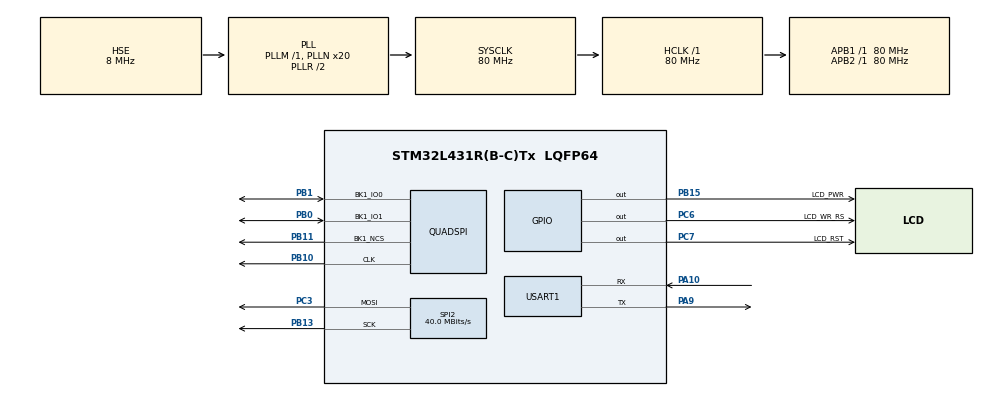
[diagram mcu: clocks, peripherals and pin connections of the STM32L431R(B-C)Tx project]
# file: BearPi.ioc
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Dma.Request0=SPI2_TX
Dma.SPI2_TX.0.Direction=DMA_MEMORY_TO_PERIPH
Dma.SPI2_TX.0.Instance=DMA1_Channel5
Dma.SPI2_TX.0.MemDataAlignment=DMA_MDATAALIGN_BYTE
Dma.SPI2_TX.0.MemInc=DMA_MINC_ENABLE
Dma.SPI2_TX.0.Mode=DMA_NORMAL
Dma.SPI2_TX.0.PeriphDataAlignment=DMA_PDATAALIGN_BYTE
Dma.SPI2_TX.0.PeriphInc=DMA_PINC_DISABLE
Dma.SPI2_TX.0.Priority=DMA_PRIORITY_LOW
FATFS._CODE_PAGE=936
FATFS._MAX_SS=4096
FATFS._USE_LFN=2
Mcu.Family=STM32L4
Mcu.Name=STM32L431R(B-C)Tx
Mcu.Package=LQFP64
NVIC.DMA1_Channel5_IRQn=true\:0\:0\:false\:false\:true\:false\:true
NVIC.PriorityGroup=NVIC_PRIORITYGROUP_4
NVIC.TIM7_IRQn=true\:0\:0\:false\:false\:true\:true\:true
NVIC.USART1_IRQn=true\:0\:0\:false\:false\:true\:true\:true
PA10.Mode=Asynchronous
PA10.Signal=USART1_RX
PA13\ (JTMS-SWDIO).Mode=Serial_Wire
PA13\ (JTMS-SWDIO).Signal=SYS_JTMS-SWDIO
PA14\ (JTCK-SWCLK).Mode=Serial_Wire
PA14\ (JTCK-SWCLK).Signal=SYS_JTCK-SWCLK
PA9.Mode=Asynchronous
PA9.Signal=USART1_TX
PB0.Mode=Single Bank 1 2IOs
PB0.Signal=QUADSPI_BK1_IO1
PB1.Mode=Single Bank 1 2IOs
PB1.Signal=QUADSPI_BK1_IO0
PB10.Mode=Single Bank 1 2IOs
PB10.Signal=QUADSPI_CLK
PB11.Mode=Single Bank 1 2IOs
PB11.Signal=QUADSPI_BK1_NCS
PB13.Mode=TX_Only_Simplex_Unidirect_Master
PB13.Signal=SPI2_SCK
PB15.GPIO_Label=LCD_PWR
PB15.GPIO_Speed=GPIO_SPEED_FREQ_VERY_HIGH
PB15.Signal=GPIO_Output
PC14-OSC32_IN\ (PC14).Mode=LSE-External-Oscillator
PC14-OSC32_IN\ (PC14).Signal=RCC_OSC32_IN
PC15-OSC32_OUT\ (PC15).Mode=LSE-External-Oscillator
PC15-OSC32_OUT\ (PC15).Signal=RCC_OSC32_OUT
PC3.Mode=TX_Only_Simplex_Unidirect_Master
PC3.Signal=SPI2_MOSI
PC6.GPIO_Label=LCD_WR_RS
PC6.GPIO_Speed=GPIO_SPEED_FREQ_VERY_HIGH
PC6.Signal=GPIO_Output
PC7.GPIO_Label=LCD_RST
PC7.GPIO_Speed=GPIO_SPEED_FREQ_VERY_HIGH
PC7.Signal=GPIO_Output
PH0-OSC_IN\ (PH0).Mode=HSE-External-Oscillator
PH0-OSC_IN\ (PH0).Signal=RCC_OSC_IN
PH1-OSC_OUT\ (PH1).Mode=HSE-External-Oscillator
PH1-OSC_OUT\ (PH1).Signal=RCC_OSC_OUT
ProjectManager.HeapSize=0x1000
ProjectManager.StackSize=0x1000
ProjectManager.TargetToolchain=MDK-ARM V5.27
QUADSPI.ChipSelectHighTime=QSPI_CS_HIGH_TIME_4_CYCLE
QUADSPI.ClockPrescaler=0
QUADSPI.FifoThreshold=4
QUADSPI.FlashSize=22
QUADSPI.SampleShifting=QSPI_SAMPLE_SHIFTING_HALFCYCLE
RCC.ADCFreq_Value=32000000
RCC.AHBFreq_Value=80000000
RCC.APB1Freq_Value=80000000
RCC.APB1TimFreq_Value=80000000
RCC.APB2Freq_Value=80000000
RCC.APB2TimFreq_Value=80000000
RCC.CortexFreq_Value=80000000
RCC.HCLKFreq_Value=80000000
RCC.HSE_VALUE=8000000
RCC.HSI48_VALUE=48000000
RCC.HSI_VALUE=16000000
RCC.MSI_VALUE=4000000
RCC.PLLN=20
RCC.PLLSourceVirtual=RCC_PLLSOURCE_HSE
RCC.SYSCLKFreq_VALUE=80000000
RCC.SYSCLKSource=RCC_SYSCLKSOURCE_PLLCLK
RCC.VCOOutputFreq_Value=160000000
SPI2.CLKPhase=SPI_PHASE_2EDGE
SPI2.CLKPolarity=SPI_POLARITY_HIGH
SPI2.CalculateBaudRate=40.0 MBits/s
SPI2.DataSize=SPI_DATASIZE_8BIT
SPI2.Direction=SPI_DIRECTION_2LINES
SPI2.Mode=SPI_MODE_MASTER
SPI2.VirtualType=VM_MASTER
TIM7.Period=999
TIM7.Prescaler=79
USART1.VirtualMode-Asynchronous=VM_ASYNC
VP_FATFS_VS_Generic.Mode=User_defined
VP_TIM7_VS_ClockSourceINT.Mode=Enable_Timer
board=custom

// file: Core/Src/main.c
/* USER CODE BEGIN Header */
/**
  ******************************************************************************
  * @file           : main.c
  * @brief          : Main program body
  ******************************************************************************
  * @attention
  *
  * <h2><center>&copy; Copyright (c) 2021 STMicroelectronics.
  * All rights reserved.</center></h2>
  *
  * This software component is licensed by ST under BSD 3-Clause license,
  * the "License"; You may not use this file except in compliance with the
  * License. You may obtain a copy of the License at:
  *                        opensource.org/licenses/BSD-3-Clause
  *
  ******************************************************************************
  */
/* USER CODE END Header */
#include "main.h"
#include "dma.h"
#include "fatfs.h"
#include "quadspi.h"
#include "spi.h"
#include "tim.h"
#include "usart.h"
#include "gpio.h"

/* USER CODE BEGIN Includes */
#include "lcd_spi2_drv.h"
#include "bsp_w25q64.h"
#include "mbedtls/aes.h"
#include "lvgl.h"
#include "lv_port_disp.h"
#include "lv_demo_widgets.h"
#include "lv_demo_benchmark.h"
/* USER CODE END Includes */

void SystemClock_Config(void);

/* USER CODE BEGIN 0 */
uint8_t dat[11] = "mculover666";
uint8_t read_buf[11] = {0};

////密钥
//unsigned char key[16] = "520199112301234";
////明文
//unsigned char plain[16] = "DaoBanMoJieYJW";
////密文
//unsigned char cipher[16] = {0};
////解密后的明文
//unsigned char plain_decrypt[16] = {0};

//mbedtls_aes_context aes;

uint8_t work[_MAX_SS] ;
void Mount_Fatfs(void)
{
    retUSER = f_mount(&USERFatFS, USERPath, 1);

    if(retUSER != FR_OK)
    {
        if(retUSER == FR_NO_FILESYSTEM)
        {
            printf("f_mount 没有文件系统,开始格式化spi-flash\r\n");
            retUSER = f_mkfs(USERPath, FM_ANY, 0, work, sizeof(work));

            if(retUSER != FR_OK)
            {
                printf("f_mkfs 格式化失败，err = %d\r\n", retUSER);
            }
            else
            {
                printf("格式化成功，开始重新挂载spi-flash\r\n");
                retUSER = f_mount(&USERFatFS, USERPath, 1);

                if(retUSER != FR_OK)
                {
                    printf("f_mount 发生错误，err = %d\r\n", retUSER);
                }
                else
                {
                    printf("spi-flash文件系统挂载成功\r\n");
                }
            }
        }
        else
        {
            printf("f_mount 发生其他错误，err = %d\r\n", retUSER);
        }
    }
    else
        printf("spi-flash文件系统挂载成功\r\n");
}

/*获取盘内存*/
uint8_t  f_GetTotal_Free(uint8_t *drv, uint32_t *total, uint32_t *free)
{
    FATFS *fs1;
    uint8_t res;
    DWORD fre_clust = 0, fre_sect = 0, tot_sect = 0;
    res = f_getfree((const TCHAR*)drv, &fre_clust, &fs1);//得到磁盘信息及空闲簇数量

    if(res == 0)
    {
        tot_sect = (fs1->n_fatent - 2) * fs1->csize; //得到总扇区数
        fre_sect = fre_clust * fs1->csize;        //得到空闲扇区数
        #if _MAX_SS!=512                                  //扇区大小不是512字节,则转换为512字节
        tot_sect *= fs1->ssize / 512;
        fre_sect *= fs1->ssize / 512;
        #endif
        *total = tot_sect >> 1; //单位为KB
        *free = fre_sect >> 1; //单位为KB
    }
    return res;
}

static void btn_event_cb(lv_obj_t * btn, lv_event_t event)
{
    if(event == LV_EVENT_CLICKED) {
        static uint8_t cnt = 0;
        cnt++;

        /*Get the first child of the button which is the label and change its text*/
        lv_obj_t * label = lv_obj_get_child(btn, NULL);
        lv_label_set_text_fmt(label, "Button: %d", cnt);
    }
}

void lvgl_first_demo_start(void)
{
    lv_obj_t * btn = lv_btn_create(lv_scr_act(), NULL);     /*Add a button the current screen*/
    lv_obj_set_pos(btn, 10, 10);                            /*Set its position*/
    lv_obj_set_size(btn, 120, 50);                          /*Set its size*/
    lv_obj_set_event_cb(btn, btn_event_cb);                 /*Assign a callback to the button*/

    lv_obj_t * label = lv_label_create(btn, NULL);          /*Add a label to the button*/
    lv_label_set_text(label, "Button");                     /*Set the labels text*/

	lv_obj_t * label1 = lv_label_create(lv_scr_act(), NULL);
	lv_label_set_text(label1, "Hello world!");
	lv_obj_align(label1, NULL, LV_ALIGN_CENTER, 0, 0);
	lv_obj_align(btn, label1, LV_ALIGN_OUT_TOP_MID, 0, -10);
}
/* USER CODE END 0 */

int main(void)
{
  /* USER CODE BEGIN 1 */
    uint16_t device_id;
  /* USER CODE END 1 */

  /* MCU Configuration--------------------------------------------------------*/

  /* Reset of all peripherals, Initializes the Flash interface and the Systick. */
  HAL_Init();

  /* USER CODE BEGIN Init */

    uint8_t res;
    uint32_t Total = 0; //读取FLASH总容量
    uint32_t Free = 0; //读取FLASH剩余容量
  /* USER CODE END Init */

  /* Configure the system clock */
  SystemClock_Config();

  /* Initialize all configured peripherals */
  MX_GPIO_Init();
  MX_DMA_Init();
  MX_SPI2_Init();
  MX_USART1_UART_Init();
  MX_QUADSPI_Init();
  MX_FATFS_Init();
  MX_TIM7_Init();
  /* USER CODE BEGIN 2 */
  HAL_TIM_Base_Start_IT(&htim7);
  Mount_Fatfs();
  f_GetTotal_Free((uint8_t*)"0:",&Total,&Free);//获取SD卡总容量和剩余容量
  printf("当前Fatfs总容量:%dKB==>%dMB?剩余容量:%dKB==>%dMB\n",Total,Total/1024,Free,Free/1024);

    LCD_Init();
	lv_init();
	lv_port_disp_init();
	lv_demo_widgets();
//    mbedtls_aes_init(&aes);	//初始化
    printf("Test W25QXX...\r\n");
    device_id = W25QXX_ReadID();
    printf("device_id = 0x%X\r\n\r\n", device_id);

//    /* 为了验证，首先读取要写入地址处的数据 */
//    printf("-------- read data before write -----------\r\n");
//    W25QXX_Read(read_buf, 5, 11);
//    printf("read date is %s\r\n", (char*)read_buf);

//    /* 擦除该扇区 */
//    printf("-------- erase sector 0 -----------\r\n");
//    W25QXX_Erase_Sector(0);

//    /* 写数据 */
//    printf("-------- write data -----------\r\n");
//    W25QXX_Page_Program(dat, 5, 11);

//    /* 再次读数据 */
//    printf("-------- read data after write -----------\r\n");
//    W25QXX_Read(read_buf, 5, 11);
//    printf("read date is %s\r\n", (char*)read_buf);

//  lv_obj_t * label;
//  lv_obj_t * btn1 = lv_btn_create(lv_scr_act(), NULL);
//  lv_obj_align(btn1, NULL, LV_ALIGN_CENTER, 0, 0);
//  label = lv_label_create(btn1, NULL);
//  lv_label_set_text(label, "Button");

  /* USER CODE END 2 */

  /* Infinite loop */
    while (1)
    {

    /* USER CODE BEGIN 3 */
		lv_task_handler();
//        mbedtls_aes_setkey_enc(&aes, key, 128);	//设置加密密钥
//		mbedtls_aes_crypt_ecb(&aes, MBEDTLS_AES_ENCRYPT, plain, cipher);//ECB加密
//		printf("%s\r\n",plain);
//		mbedtls_aes_setkey_dec(&aes, key, 128);//设置解密密钥
//		mbedtls_aes_crypt_ecb(&aes, MBEDTLS_AES_DECRYPT, cipher, plain_decrypt);//ECB解密
//        printf("%s\r\n",plain_decrypt);
//		HAL_Delay(500);
    }
  /* USER CODE END 3 */
}

void SystemClock_Config(void)
{
  RCC_OscInitTypeDef RCC_OscInitStruct = {0};
  RCC_ClkInitTypeDef RCC_ClkInitStruct = {0};
  RCC_PeriphCLKInitTypeDef PeriphClkInit = {0};

  /** Initializes the RCC Oscillators according to the specified parameters
  * in the RCC_OscInitTypeDef structure.
  */
  RCC_OscInitStruct.OscillatorType = RCC_OSCILLATORTYPE_HSE;
  RCC_OscInitStruct.HSEState = RCC_HSE_ON;
  RCC_OscInitStruct.PLL.PLLState = RCC_PLL_ON;
  RCC_OscInitStruct.PLL.PLLSource = RCC_PLLSOURCE_HSE;
  RCC_OscInitStruct.PLL.PLLM = 1;
  RCC_OscInitStruct.PLL.PLLN = 20;
  RCC_OscInitStruct.PLL.PLLP = RCC_PLLP_DIV7;
  RCC_OscInitStruct.PLL.PLLQ = RCC_PLLQ_DIV2;
  RCC_OscInitStruct.PLL.PLLR = RCC_PLLR_DIV2;
  if (HAL_RCC_OscConfig(&RCC_OscInitStruct) != HAL_OK)
  {
    Error_Handler();
  }
  /** Initializes the CPU, AHB and APB buses clocks
  */
  RCC_ClkInitStruct.ClockType = RCC_CLOCKTYPE_HCLK|RCC_CLOCKTYPE_SYSCLK
                              |RCC_CLOCKTYPE_PCLK1|RCC_CLOCKTYPE_PCLK2;
  RCC_ClkInitStruct.SYSCLKSource = RCC_SYSCLKSOURCE_PLLCLK;
  RCC_ClkInitStruct.AHBCLKDivider = RCC_SYSCLK_DIV1;
  RCC_ClkInitStruct.APB1CLKDivider = RCC_HCLK_DIV1;
  RCC_ClkInitStruct.APB2CLKDivider = RCC_HCLK_DIV1;

  if (HAL_RCC_ClockConfig(&RCC_ClkInitStruct, FLASH_LATENCY_4) != HAL_OK)
  {
    Error_Handler();
  }
  PeriphClkInit.PeriphClockSelection = RCC_PERIPHCLK_USART1;
  PeriphClkInit.Usart1ClockSelection = RCC_USART1CLKSOURCE_PCLK2;
  if (HAL_RCCEx_PeriphCLKConfig(&PeriphClkInit) != HAL_OK)
  {
    Error_Handler();
  }
  /** Configure the main internal regulator output voltage
  */
  if (HAL_PWREx_ControlVoltageScaling(PWR_REGULATOR_VOLTAGE_SCALE1) != HAL_OK)
  {
    Error_Handler();
  }
}

/* USER CODE BEGIN 4 */
void HAL_TIM_PeriodElapsedCallback(TIM_HandleTypeDef *htim)
{
	  if(htim == &htim7)
	 {
	    lv_tick_inc(1);//lvgl 的 1ms 心跳
	 }
}
/* USER CODE END 4 */

void Error_Handler(void)
{
    __disable_irq();
    while (1)
    {
    }
}

/************************ (C) COPYRIGHT STMicroelectronics *****END OF FILE****/
